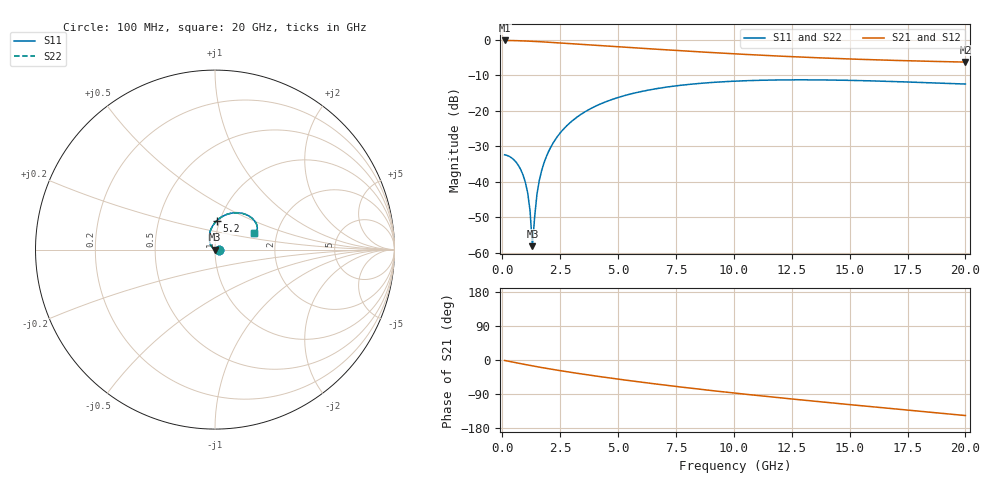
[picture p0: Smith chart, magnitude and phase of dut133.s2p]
! Created with skrf 1.9.0 (http://scikit-rf.org).
# GHz S RI R 50.0
!freq ReS11 ImS11 ReS21 ImS21 ReS12 ImS12 ReS22 ImS22
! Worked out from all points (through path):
!   200 points, 100 MHz to 20 GHz, reference 50 ohm
!   highest |S21| = -0.21 dB at 100 MHz (marker M1); lowest = -6.3 dB at 20 GHz (marker M2)
!   group delay of S21, straight-line fit = 19.4 ps
!   lowest |S11| = -58.1 dB at 1.3 GHz (marker M3), VSWR 1.00, Z = 50 - j0.122 ohm
!   |S11| at or under -10 dB: start of sweep to end of sweep
!   |S22| runs from -58.1 to -11.3 dB; largest |S21 - S12| = 2.7e-15
!   S11 on the Smith chart (normalised r, x): 100 MHz: 1.05, -0.00; 5.2 GHz: 0.97, +0.32; 20 GHz: 1.53, +0.30
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0.1  0.024 -0.00123  0.9754 -0.0209  0.9754 -0.0209  0.024 -0.00123
0.6  0.0181 -0.00534  0.9616 -0.1237  0.9616 -0.1237  0.0181 -0.00534
0.8  0.0137 -0.00566  0.951 -0.1628  0.951 -0.1628  0.0137 -0.00566
1  0.00846 -0.00485  0.938 -0.2004  0.938 -0.2004  0.00846 -0.00485
1.1  0.00564 -0.00397  0.9307 -0.2186  0.9307 -0.2186  0.00564 -0.00397
1.2  0.00273 -0.00276  0.9229 -0.2363  0.9229 -0.2363  0.00273 -0.00276
1.3  -0.000236 -0.00122  0.9147 -0.2535  0.9147 -0.2535  -0.000236 -0.00122
1.4  -0.00321 0.000646  0.906 -0.2702  0.906 -0.2702  -0.00321 0.000646
1.5  -0.00617 0.00284  0.897 -0.2865  0.897 -0.2865  -0.00617 0.00284
1.6  -0.00907 0.00535  0.8876 -0.3023  0.8876 -0.3023  -0.00907 0.00535
1.7  -0.0119 0.00815  0.878 -0.3176  0.878 -0.3176  -0.0119 0.00815
1.9  -0.0172 0.0146  0.8579 -0.3468  0.8579 -0.3468  -0.0172 0.0146
2.2  -0.0239 0.0261  0.8262 -0.3872  0.8262 -0.3872  -0.0239 0.0261
2.5  -0.0288 0.0393  0.7933 -0.4237  0.7933 -0.4237  -0.0288 0.0393
3  -0.0323 0.0635  0.7366 -0.4767  0.7366 -0.4767  -0.0323 0.0635
3.5  -0.0302 0.0886  0.679 -0.5212  0.679 -0.5212  -0.0302 0.0886
5.2  0.00944 0.1605  0.4843 -0.6211  0.4843 -0.6211  0.00944 0.1605
6.8  0.068 0.1969  0.3132 -0.6591  0.3132 -0.6591  0.068 0.1969
10.1  0.1747 0.1945  0.0253 -0.6304  0.0253 -0.6304  0.1747 0.1945
13.4  0.2271 0.1501  -0.1757 -0.5323  -0.1757 -0.5323  0.2271 0.1501
16.7  0.2346 0.1099  -0.3135 -0.4074  -0.3135 -0.4074  0.2346 0.1099
20  0.2189 0.0926  -0.4041 -0.2666  -0.4041 -0.2666  0.2189 0.0926
